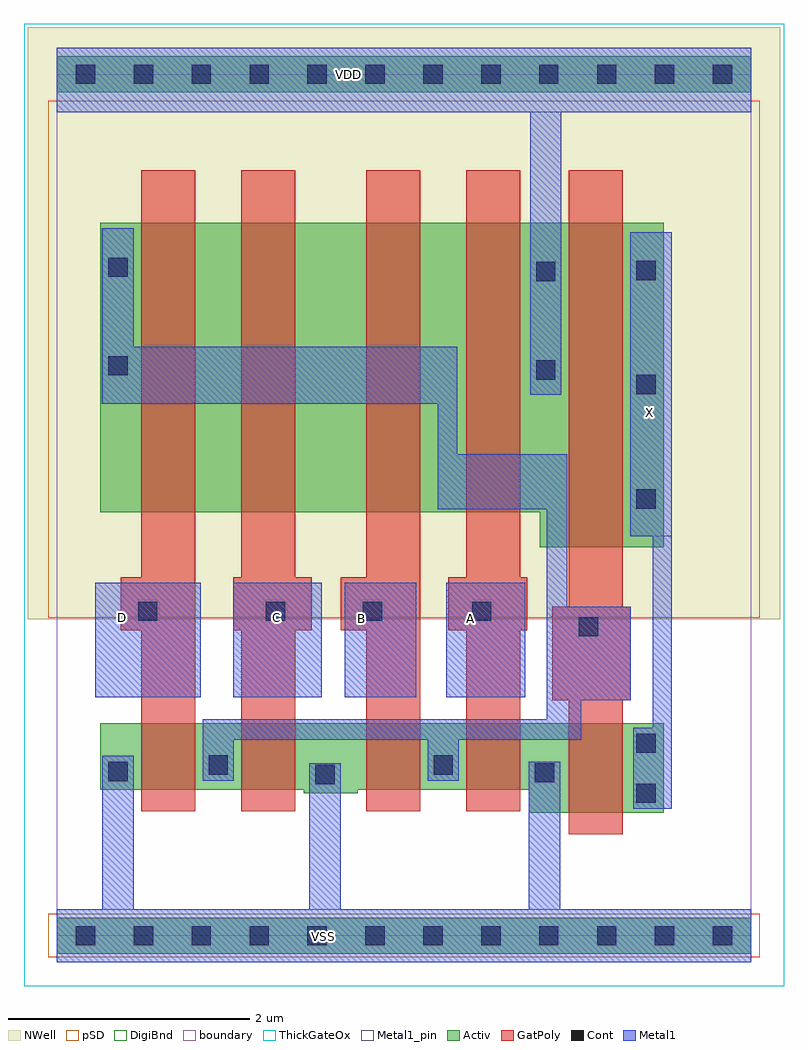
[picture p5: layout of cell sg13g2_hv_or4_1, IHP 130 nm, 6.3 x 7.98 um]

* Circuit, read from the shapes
.subckt sg13g2_hv_or4_1 A B C D VDD VSS X
XM1 n1 D VSS VSS sg13_hv_nmos w=0.55u l=0.45u
XM2 VSS C n1 VSS sg13_hv_nmos w=0.55u l=0.45u
XM3 n1 B VSS VSS sg13_hv_nmos w=0.55u l=0.45u
XM4 VSS A n1 VSS sg13_hv_nmos w=0.55u l=0.45u
XM5 X n1 VSS VSS sg13_hv_nmos w=0.74u l=0.45u
XM6 n2 D n1 VDD sg13_hv_pmos w=2.4u l=0.45u
XM7 n3 C n2 VDD sg13_hv_pmos w=2.4u l=0.45u
XM8 n4 B n3 VDD sg13_hv_pmos w=2.4u l=0.45u
XM9 VDD A n4 VDD sg13_hv_pmos w=2.4u l=0.45u
XM10 X n1 VDD VDD sg13_hv_pmos w=2.69u l=0.45u
.ends

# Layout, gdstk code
import gdstk
lib = gdstk.Library(unit=1e-6, precision=1e-09)
def R(c, l, rs):  # rectangles x0, y0, x1, y1
    for r in rs: c.add(gdstk.rectangle(r[:2], r[2:], *l))
def A(c, l, x, y, w, h, nx, ny, dx, dy):  # array of equal rectangles
    R(c, l, [(x+i*dx, y+j*dy, x+i*dx+w, y+j*dy+h) for i in range(nx) for j in range(ny)])
def P(c, l, *ps):  # polygons
    for p in ps: c.add(gdstk.Polygon(p, *l))
Activ = (1, 0)
GatPoly = (5, 0)
Cont = (6, 0)
Metal1 = (8, 0)
Metal1_pin = (8, 2)
pSD = (14, 0)
DigiBnd = (16, 0)
NWell = (31, 0)
ThickGateOx = (44, 0)
boundary = (189, 4)

sg13g2_hv_or4_1 = lib.new_cell('sg13g2_hv_or4_1')
R(sg13g2_hv_or4_1, Activ, [(0,-0.15,5.76,0.15), (0,6.99,5.76,7.29)])
P(sg13g2_hv_or4_1, Activ, [(3.915,1.02),(3.915,1.21),(2.495,1.21),(2.495,1.18),(2.05,1.18),(2.05,1.21),(0.36,1.21),(0.36,1.76),(5.035,1.76),(5.035,1.02)],
  [(4.005,3.22),(4.005,3.51),(0.36,3.51),(0.36,5.91),(5.035,5.91),(5.035,3.22)])
P(sg13g2_hv_or4_1, GatPoly, [(1.53,1.03),(1.53,2.53),(1.465,2.53),(1.465,2.97),(1.53,2.97),(1.53,6.345),(1.98,6.345),(1.98,2.97),(2.115,2.97),(2.115,2.53),(1.98,2.53),(1.98,1.03)],
  [(4.245,0.84),(4.245,1.95),(4.11,1.95),(4.11,2.725),(4.245,2.725),(4.245,6.345),(4.695,6.345),(4.695,2.725),(4.76,2.725),(4.76,1.95),(4.695,1.95),(4.695,0.84)],
  [(2.565,1.03),(2.565,2.53),(2.355,2.53),(2.355,2.97),(2.565,2.97),(2.565,6.345),(3.015,6.345),(3.015,1.03)],
  [(3.395,1.03),(3.395,2.53),(3.245,2.53),(3.245,2.97),(3.395,2.97),(3.395,6.345),(3.845,6.345),(3.845,2.97),(3.9,2.97),(3.9,2.53),(3.845,2.53),(3.845,1.03)],
  [(0.7,1.03),(0.7,2.53),(0.53,2.53),(0.53,2.97),(0.7,2.97),(0.7,6.345),(1.15,6.345),(1.15,1.03)])
A(sg13g2_hv_or4_1, Cont, 0.16, -0.08, 0.16, 0.16, 12, 2, 0.48, 7.14)
R(sg13g2_hv_or4_1, Cont, [(4.805,1.1,4.965,1.26), (2.145,1.255,2.305,1.415), (3.965,1.27,4.125,1.43), (0.43,1.28,0.59,1.44), (1.26,1.335,1.42,1.495), (3.125,1.335,3.285,1.495), (4.805,1.515,4.965,1.675), (4.33,2.48,4.49,2.64), (0.675,2.61,0.835,2.77), (1.735,2.61,1.895,2.77), (2.54,2.61,2.7,2.77), (3.445,2.61,3.605,2.77), (4.805,3.54,4.965,3.7), (4.805,4.49,4.965,4.65), (3.975,4.61,4.135,4.77), (0.43,4.645,0.59,4.805), (3.975,5.425,4.135,5.585), (4.805,5.435,4.965,5.595), (0.43,5.46,0.59,5.62)])
R(sg13g2_hv_or4_1, Metal1, [(0.32,1.975,1.195,2.925), (1.465,1.975,2.2,2.925), (2.39,1.975,2.98,2.925), (3.23,1.975,3.885,2.925)])
P(sg13g2_hv_or4_1, Metal1, [(1.21,1.285),(1.21,1.795),(4.065,1.795),(4.065,3.535),(3.16,3.535),(3.16,4.41),(0.38,4.41),(0.38,5.865),(0.64,5.865),(0.64,4.88),(3.32,4.88),(3.32,3.99),(4.235,3.99),(4.235,2.725),(4.76,2.725),(4.76,1.95),(4.35,1.95),(4.35,1.625),(3.335,1.625),(3.335,1.285),(3.075,1.285),(3.075,1.625),(1.47,1.625),(1.47,1.285)],
  [(4.78,1.05),(4.78,1.725),(4.94,1.725),(4.94,3.31),(4.755,3.31),(4.755,5.83),(5.1,5.83),(5.1,1.05)],
  [(0,-0.22),(0,0.22),(0.38,0.22),(0.38,1.49),(0.64,1.49),(0.64,0.22),(2.095,0.22),(2.095,1.43),(2.355,1.43),(2.355,0.22),(3.915,0.22),(3.915,1.44),(4.175,1.44),(4.175,0.22),(5.76,0.22),(5.76,-0.22)],
  [(3.925,4.485),(3.925,6.825),(0,6.825),(0,7.36),(5.76,7.36),(5.76,6.825),(4.185,6.825),(4.185,4.485)])
R(sg13g2_hv_or4_1, Metal1_pin, [(0,-0.22,5.76,0.22), (0.32,1.975,1.195,2.925), (1.465,1.975,2.2,2.925), (2.39,1.975,2.98,2.925), (3.23,1.975,3.885,2.925), (4.755,3.31,5.1,5.83), (0,6.825,5.76,7.36)])
R(sg13g2_hv_or4_1, pSD, [(-0.07,-0.18,5.83,0.18), (0,-0.18,5.76,0.18), (-0.07,2.635,5.83,6.92)])
R(sg13g2_hv_or4_1, DigiBnd, [(0,0,5.76,7.14)])
R(sg13g2_hv_or4_1, NWell, [(-0.24,2.625,6,7.53)])
R(sg13g2_hv_or4_1, ThickGateOx, [(-0.27,-0.42,6.03,7.56)])
R(sg13g2_hv_or4_1, boundary, [(0,0,5.76,7.14)])
sg13g2_hv_or4_1.add(gdstk.Label('X', (4.915,4.34), layer=8, texttype=25))
sg13g2_hv_or4_1.add(gdstk.Label('C', (1.825,2.64), layer=8, texttype=25))
sg13g2_hv_or4_1.add(gdstk.Label('D', (0.55,2.635), layer=8, texttype=25))
sg13g2_hv_or4_1.add(gdstk.Label('VDD', (2.42,7.14), layer=8, texttype=25))
sg13g2_hv_or4_1.add(gdstk.Label('VSS', (2.215,-0.005), layer=8, texttype=25))
sg13g2_hv_or4_1.add(gdstk.Label('A', (3.43,2.63), layer=8, texttype=25))
sg13g2_hv_or4_1.add(gdstk.Label('B', (2.525,2.63), layer=8, texttype=25))

lib.write_gds('sg13g2_hv_or4_1.gds')
